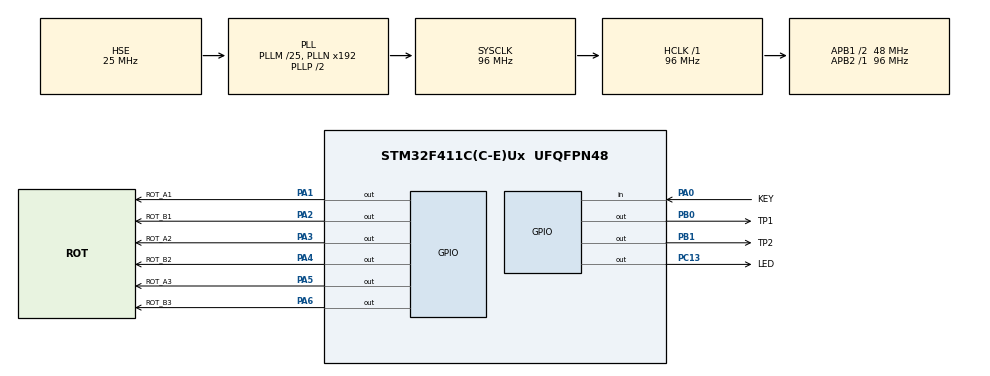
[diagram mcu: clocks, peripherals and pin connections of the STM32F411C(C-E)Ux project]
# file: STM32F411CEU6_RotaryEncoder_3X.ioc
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Dma.Request0=TIM1_UP
Dma.TIM1_UP.0.Direction=DMA_MEMORY_TO_PERIPH
Dma.TIM1_UP.0.FIFOMode=DMA_FIFOMODE_DISABLE
Dma.TIM1_UP.0.Instance=DMA2_Stream5
Dma.TIM1_UP.0.MemDataAlignment=DMA_MDATAALIGN_WORD
Dma.TIM1_UP.0.MemInc=DMA_MINC_ENABLE
Dma.TIM1_UP.0.Mode=DMA_NORMAL
Dma.TIM1_UP.0.PeriphDataAlignment=DMA_PDATAALIGN_WORD
Dma.TIM1_UP.0.PeriphInc=DMA_PINC_DISABLE
Dma.TIM1_UP.0.Priority=DMA_PRIORITY_VERY_HIGH
Mcu.Family=STM32F4
Mcu.Name=STM32F411C(C-E)Ux
Mcu.Package=UFQFPN48
NVIC.DMA2_Stream5_IRQn=true\:0\:0\:false\:false\:true\:false\:true\:true
NVIC.PriorityGroup=NVIC_PRIORITYGROUP_4
NVIC.TIM3_IRQn=true\:0\:0\:false\:false\:true\:true\:true\:true
PA0-WKUP.GPIO_Label=KEY
PA0-WKUP.GPIO_PuPd=GPIO_PULLUP
PA0-WKUP.Signal=GPIO_Input
PA1.GPIO_Label=ROT_A1
PA1.GPIO_Speed=GPIO_SPEED_FREQ_VERY_HIGH
PA1.Signal=GPIO_Output
PA13.Mode=Serial_Wire
PA13.Signal=SYS_JTMS-SWDIO
PA14.Mode=Serial_Wire
PA14.Signal=SYS_JTCK-SWCLK
PA2.GPIO_Label=ROT_B1
PA2.GPIO_Speed=GPIO_SPEED_FREQ_VERY_HIGH
PA2.Signal=GPIO_Output
PA3.GPIO_Label=ROT_A2
PA3.GPIO_Speed=GPIO_SPEED_FREQ_VERY_HIGH
PA3.Signal=GPIO_Output
PA4.GPIO_Label=ROT_B2
PA4.GPIO_Speed=GPIO_SPEED_FREQ_VERY_HIGH
PA4.Signal=GPIO_Output
PA5.GPIO_Label=ROT_A3
PA5.GPIO_Speed=GPIO_SPEED_FREQ_VERY_HIGH
PA5.Signal=GPIO_Output
PA6.GPIO_Label=ROT_B3
PA6.GPIO_Speed=GPIO_SPEED_FREQ_VERY_HIGH
PA6.Signal=GPIO_Output
PB0.GPIO_Label=TP1
PB0.GPIO_Speed=GPIO_SPEED_FREQ_VERY_HIGH
PB0.Signal=GPIO_Output
PB1.GPIO_Label=TP2
PB1.GPIO_Speed=GPIO_SPEED_FREQ_VERY_HIGH
PB1.Signal=GPIO_Output
PC13-ANTI_TAMP.GPIO_Label=LED
PC13-ANTI_TAMP.GPIO_ModeDefaultOutputPP=GPIO_MODE_OUTPUT_OD
PC13-ANTI_TAMP.GPIO_PuPd=GPIO_NOPULL
PC13-ANTI_TAMP.Signal=GPIO_Output
PC14-OSC32_IN.Mode=LSE-External-Oscillator
PC14-OSC32_IN.Signal=RCC_OSC32_IN
PC15-OSC32_OUT.Mode=LSE-External-Oscillator
PC15-OSC32_OUT.Signal=RCC_OSC32_OUT
PH0\ -\ OSC_IN.Mode=HSE-External-Oscillator
PH0\ -\ OSC_IN.Signal=RCC_OSC_IN
PH1\ -\ OSC_OUT.Mode=HSE-External-Oscillator
PH1\ -\ OSC_OUT.Signal=RCC_OSC_OUT
ProjectManager.HeapSize=0x200
ProjectManager.StackSize=0x400
ProjectManager.TargetToolchain=STM32CubeIDE
RCC.48MHZClocksFreq_Value=48000000
RCC.AHBFreq_Value=96000000
RCC.APB1CLKDivider=RCC_HCLK_DIV2
RCC.APB1Freq_Value=48000000
RCC.APB1TimFreq_Value=96000000
RCC.APB2Freq_Value=96000000
RCC.APB2TimFreq_Value=96000000
RCC.CortexFreq_Value=96000000
RCC.HCLKFreq_Value=96000000
RCC.HSE_VALUE=25000000
RCC.HSI_VALUE=16000000
RCC.PLLM=25
RCC.PLLSourceVirtual=RCC_PLLSOURCE_HSE
RCC.SYSCLKFreq_VALUE=96000000
RCC.SYSCLKSource=RCC_SYSCLKSOURCE_PLLCLK
RCC.VCOOutputFreq_Value=192000000
TIM1.Period=5
TIM1.Prescaler=15
TIM3.Period=1999
TIM3.Prescaler=95
VP_TIM1_VS_ClockSourceINT.Mode=Internal
VP_TIM3_VS_ClockSourceINT.Mode=Internal
board=custom

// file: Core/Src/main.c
/* USER CODE BEGIN Header */
/**
  ******************************************************************************
  * @file           : main.c
  * @brief          : Main program body
  ******************************************************************************
  * @attention
  *
  * Copyright (c) 2025 STMicroelectronics.
  * All rights reserved.
  *
  * This software is licensed under terms that can be found in the LICENSE file
  * in the root directory of this software component.
  * If no LICENSE file comes with this software, it is provided AS-IS.
  *
  ******************************************************************************
  */
/* USER CODE END Header */
#include "main.h"
#include "dma.h"
#include "tim.h"
#include "gpio.h"

void SystemClock_Config(void);

/* USER CODE BEGIN 0 */
#define Lo(PIN) (PIN << 16)
#define Hi(PIN) (PIN <<  0)

static uint32_t seq1[4] = {
	Lo(ROT_A1_Pin) | Lo(ROT_B1_Pin),
	Hi(ROT_A1_Pin) | Lo(ROT_B1_Pin),
	Hi(ROT_A1_Pin) | Hi(ROT_B1_Pin),
	Lo(ROT_A1_Pin) | Hi(ROT_B1_Pin)
};

static uint32_t seq2[4] = {
	Lo(ROT_A2_Pin) | Lo(ROT_B2_Pin),
	Hi(ROT_A2_Pin) | Lo(ROT_B2_Pin),
	Hi(ROT_A2_Pin) | Hi(ROT_B2_Pin),
	Lo(ROT_A2_Pin) | Hi(ROT_B2_Pin)
};

static uint32_t seq3[4] = {
	Lo(ROT_A3_Pin) | Lo(ROT_B3_Pin),
	Hi(ROT_A3_Pin) | Lo(ROT_B3_Pin),
	Hi(ROT_A3_Pin) | Hi(ROT_B3_Pin),
	Lo(ROT_A3_Pin) | Hi(ROT_B3_Pin)
};

static void rotary_seq_out(TIM_HandleTypeDef* tim, GPIO_TypeDef *gpio, uint32_t *buf, int size)
{
	HAL_DMA_Start_IT(
		tim->hdma[TIM_DMA_ID_UPDATE],
		(uint32_t)buf,
		(uint32_t)&(gpio->BSRR), size);
	__HAL_TIM_ENABLE_DMA(tim, TIM_DMA_UPDATE ); 	//Enable the TIM Update DMA request
	__HAL_TIM_ENABLE(tim);                 		//Enable the Peripheral
}

#define CNT_MAX 3
#define CNT_PREV 0
#define CNT_CURR 1
volatile int cnt[CNT_MAX][2];
static uint32_t *seqs[CNT_MAX] = {seq1, seq2, seq3};

#define MAX_ROT_COUNT 128
static uint32_t rotary_seq_buf[2][MAX_ROT_COUNT];
volatile int rotary_seq_idx = 0, rotary_seq_size = 0;

static void timer_2ms(TIM_HandleTypeDef *htim)
{
	int i, j;
	uint32_t *rotary_seq_data = rotary_seq_buf[rotary_seq_idx];

	HAL_GPIO_WritePin(TP1_GPIO_Port, TP1_Pin, rotary_seq_idx ? GPIO_PIN_SET : GPIO_PIN_RESET);
	HAL_GPIO_WritePin(TP2_GPIO_Port, TP2_Pin, GPIO_PIN_SET);

	/* send rotary sequence if present */
	if(rotary_seq_size)
	{
		/* send */
		rotary_seq_out(&htim1, ROT_A3_GPIO_Port, rotary_seq_data, rotary_seq_size);

		/* rotate buffer */
		rotary_seq_size = 0;
		rotary_seq_idx ^= 1;
		rotary_seq_data = rotary_seq_buf[rotary_seq_idx];
	}

	for(i = 0; i < MAX_ROT_COUNT; i++)
	{
		uint32_t v = 0, m = 0;

		for(j = 0; j < CNT_MAX; j++)
		{
			int step;

			/* skip cycle if no counter value changed */
			if(cnt[j][CNT_CURR] == cnt[j][CNT_PREV])
				continue;

			/* mark this counter has updated */
			m |= 1 << j;

			/* calc next value */
			if(cnt[j][CNT_PREV] < cnt[j][CNT_CURR])
				cnt[j][CNT_PREV]++;
			else
				cnt[j][CNT_PREV]--;

			/* calc step */
			step = cnt[j][CNT_PREV] % 4;
			if(step < 0) step += 4;

			/* store value */
			v |= seqs[j][step];
		};

		/* check if any number written */
		if(!m)
			break;

		/* store to rot array */
		rotary_seq_data[i] = v;
	}
	rotary_seq_size = i;

	HAL_GPIO_WritePin(TP2_GPIO_Port, TP2_Pin, GPIO_PIN_RESET);
};

/* USER CODE END 0 */

int main(void)
{

  /* USER CODE BEGIN 1 */
	uint8_t j = 0;

  /* USER CODE END 1 */

  /* MCU Configuration--------------------------------------------------------*/

  /* Reset of all peripherals, Initializes the Flash interface and the Systick. */
  HAL_Init();

  /* Configure the system clock */
  SystemClock_Config();

  /* Initialize all configured peripherals */
  MX_GPIO_Init();
  MX_DMA_Init();
  MX_TIM1_Init();
  MX_TIM3_Init();
  /* USER CODE BEGIN 2 */
  HAL_GPIO_WritePin(LED_GPIO_Port, LED_Pin, GPIO_PIN_RESET);

  // start generic timer
  HAL_TIM_RegisterCallback(&htim3, HAL_TIM_PERIOD_ELAPSED_CB_ID, timer_2ms);
  HAL_TIM_Base_Start_IT(&htim3);

  /* USER CODE END 2 */

  /* Infinite loop */
  /* USER CODE BEGIN WHILE */
  while (1)
  {
	/* wait for key press */
	while(HAL_GPIO_ReadPin(KEY_GPIO_Port, KEY_Pin) == GPIO_PIN_SET);

	/* fake next counters */
	__disable_irq();
	cnt[0][CNT_CURR] += 200; // + rotary_seq_idx;
	__enable_irq();
	HAL_Delay(1);
	__disable_irq();
	cnt[1][CNT_CURR] -= 200; // + rotary_seq_idx;
	__enable_irq();
	HAL_Delay(1);
	__disable_irq();
	cnt[2][CNT_CURR] += j ? 100 : -100;
	__enable_irq();

	j ^= 1;

    HAL_GPIO_WritePin(LED_GPIO_Port, LED_Pin, GPIO_PIN_SET);

	/* sleep for contact bounces */
	HAL_Delay(200);

	/* wait for key release */
	while(HAL_GPIO_ReadPin(KEY_GPIO_Port, KEY_Pin) == GPIO_PIN_RESET);

	/* sleep for contact bounces */
	HAL_Delay(200);

    HAL_GPIO_WritePin(LED_GPIO_Port, LED_Pin, GPIO_PIN_RESET);

    /* USER CODE END WHILE */

  }
}

void SystemClock_Config(void)
{
  RCC_OscInitTypeDef RCC_OscInitStruct = {0};
  RCC_ClkInitTypeDef RCC_ClkInitStruct = {0};

  /** Configure the main internal regulator output voltage
  */
  __HAL_RCC_PWR_CLK_ENABLE();
  __HAL_PWR_VOLTAGESCALING_CONFIG(PWR_REGULATOR_VOLTAGE_SCALE1);

  /** Initializes the RCC Oscillators according to the specified parameters
  * in the RCC_OscInitTypeDef structure.
  */
  RCC_OscInitStruct.OscillatorType = RCC_OSCILLATORTYPE_HSE;
  RCC_OscInitStruct.HSEState = RCC_HSE_ON;
  RCC_OscInitStruct.PLL.PLLState = RCC_PLL_ON;
  RCC_OscInitStruct.PLL.PLLSource = RCC_PLLSOURCE_HSE;
  RCC_OscInitStruct.PLL.PLLM = 25;
  RCC_OscInitStruct.PLL.PLLN = 192;
  RCC_OscInitStruct.PLL.PLLP = RCC_PLLP_DIV2;
  RCC_OscInitStruct.PLL.PLLQ = 4;
  if (HAL_RCC_OscConfig(&RCC_OscInitStruct) != HAL_OK)
  {
    Error_Handler();
  }

  /** Initializes the CPU, AHB and APB buses clocks
  */
  RCC_ClkInitStruct.ClockType = RCC_CLOCKTYPE_HCLK|RCC_CLOCKTYPE_SYSCLK
                              |RCC_CLOCKTYPE_PCLK1|RCC_CLOCKTYPE_PCLK2;
  RCC_ClkInitStruct.SYSCLKSource = RCC_SYSCLKSOURCE_PLLCLK;
  RCC_ClkInitStruct.AHBCLKDivider = RCC_SYSCLK_DIV1;
  RCC_ClkInitStruct.APB1CLKDivider = RCC_HCLK_DIV2;
  RCC_ClkInitStruct.APB2CLKDivider = RCC_HCLK_DIV1;

  if (HAL_RCC_ClockConfig(&RCC_ClkInitStruct, FLASH_LATENCY_3) != HAL_OK)
  {
    Error_Handler();
  }
}

void Error_Handler(void)
{
  __disable_irq();
  while (1)
  {
  }
}
